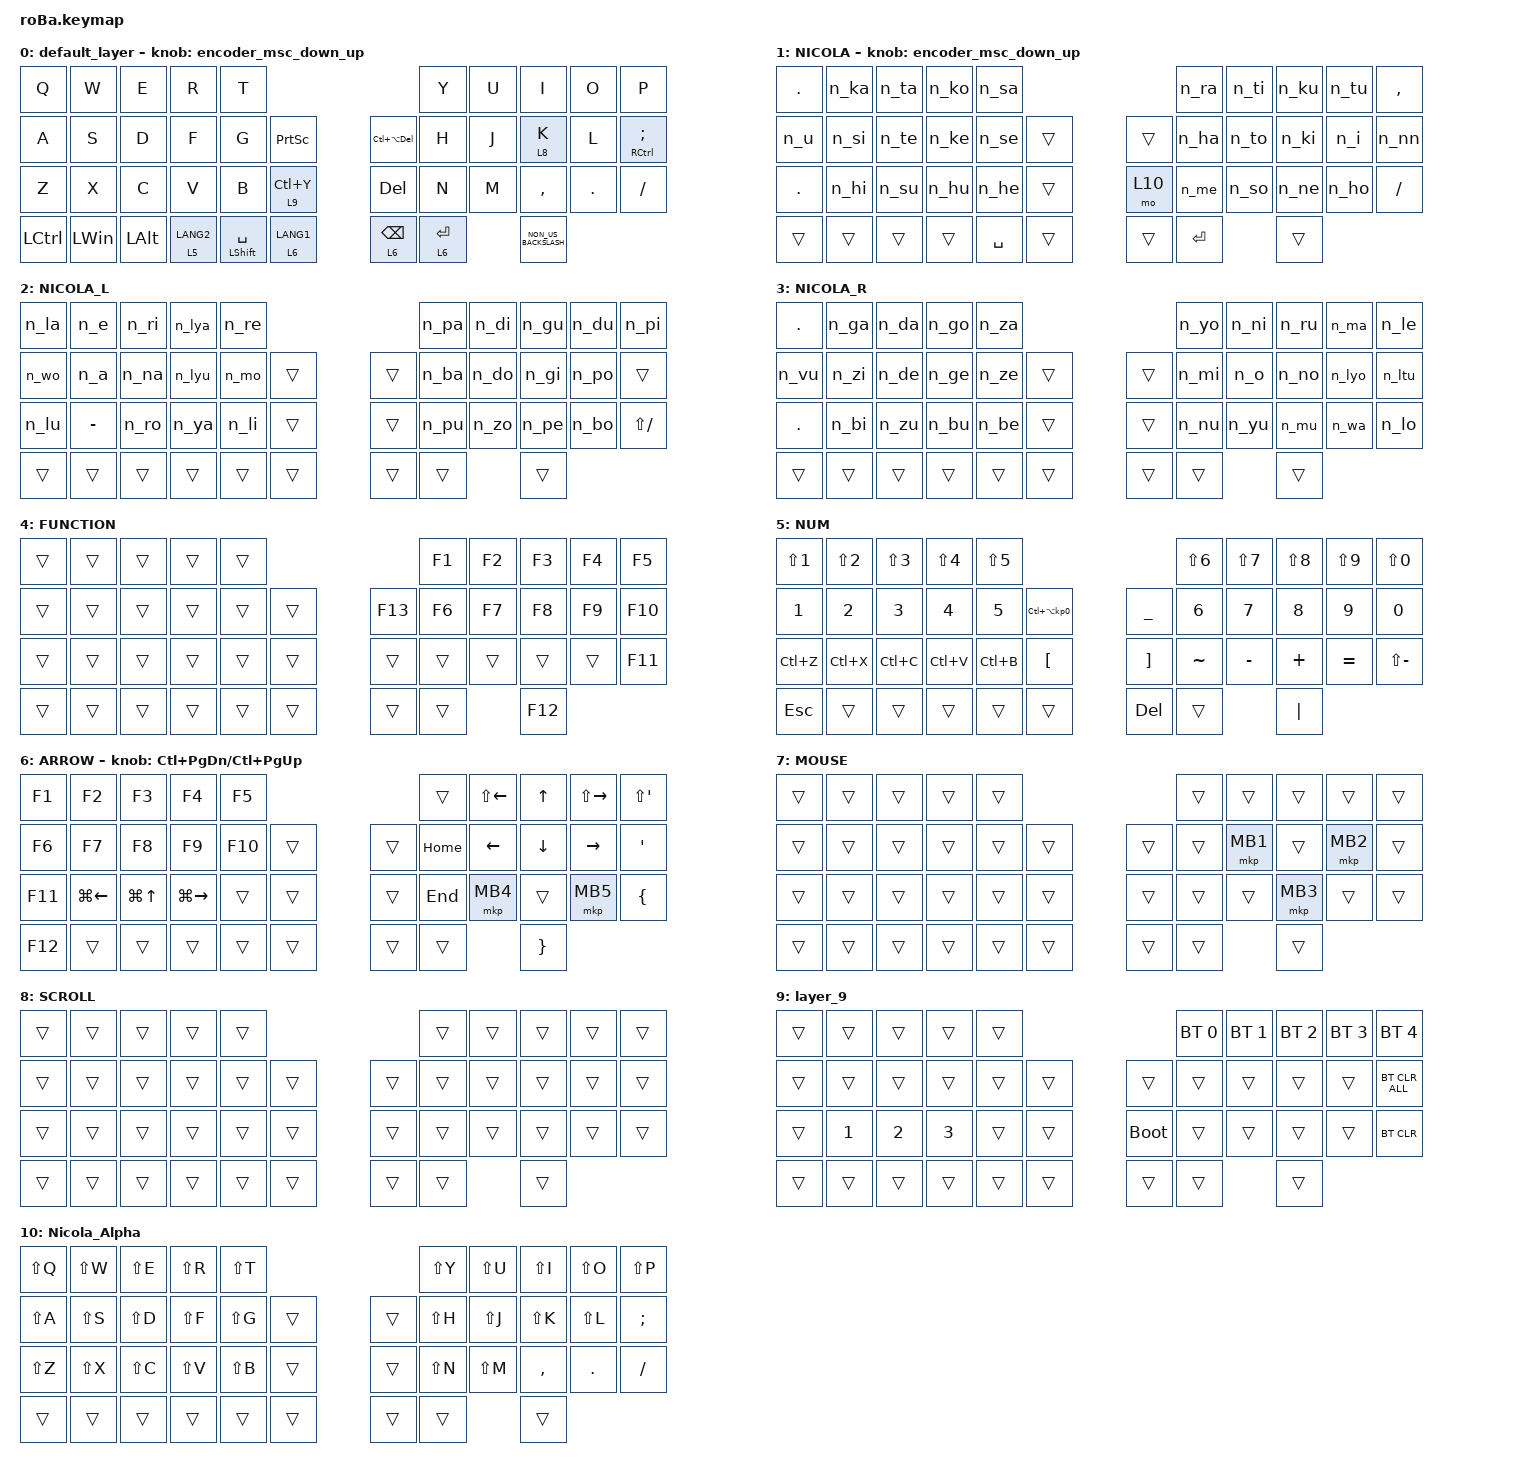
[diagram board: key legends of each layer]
#include <behaviors.dtsi>
#include <dt-bindings/zmk/bt.h>
#include <dt-bindings/zmk/keys.h>
#define ZMK_POINTING_DEFAULT_SCRL_VAL 80
#include <dt-bindings/zmk/pointing.h>


&mt {
    flavor = "balanced";
    quick-tap-ms = <190>;
};

&lt {
    flavor = "balanced";
    quick-tap-ms = <190>;
};

&trackball {
    automouse-layer = <7>;
    scroll-layers = <8>;

    // arrows {
    //     layers = <3>;
    //     bindings =
    //         <&kp RIGHT_ARROW>,
    //         <&kp LEFT_ARROW>,
    //         <&kp UP_ARROW>,
    //         <&kp DOWN_ARROW>;
    //     tick = <10>;
    //     wait-ms = <5>;
    //     tap-ms = <5>;
    // };
};


/ {
    behaviors {
        lt_to_layer_0: lt_to_layer_0 {
            compatible = "zmk,behavior-hold-tap";
            label = "LAYER_TAP_TO_0";
            bindings = <&mo>, <&to_layer_0>;

            #binding-cells = <2>;
            tapping-term-ms = <200>;
            quick-tap-ms = <180>;
        };

        encoder_msc_down_up: encoder_msc_down_up {
           compatible = "zmk,behavior-sensor-rotate";
           label = "ENCODER_MSC_DOWN_UP";
           #sensor-binding-cells = <0>;
           bindings = <&msc SCRL_DOWN>, <&msc SCRL_UP>;
           tap-ms = <20>;
       };

    };

    macros {
        #include "macro.dtsi"
        
        to_layer_0: to_layer_0 {
            compatible = "zmk,behavior-macro-one-param";
            #binding-cells = <1>;
            bindings = <&to 0 &macro_param_1to1 &kp MACRO_PLACEHOLDER>;
            label = "TO_LAYER_0";
        };

        brac1: brac1 {
            compatible = "zmk,behavior-macro";
            #binding-cells = <0>;
            bindings = <&kp LEFT_BRACKET &kp RIGHT_BRACKET &kp LEFT>;
            label = "BRAC1";
        };

        brac2: brac2 {
            compatible = "zmk,behavior-macro";
            #binding-cells = <0>;
            bindings = <&kp LEFT_BRACE &kp RIGHT_BRACE &kp LEFT>;
            label = "BRAC2";
        };

    };

    /*Key position map for combos
 0  1  2  3  4          5  6  7  8  9
10 11 12 13 14 15   16 17 18 19 20 21
22 23 24 25 26 27   28 29 30 31 32 33
34 35 36 37 38 39   40 41          42
*/
    combos {
        compatible = "zmk,combos";
        #include "combo_nicola.keymap"

        tab {
            bindings = <&kp TAB>;
            key-positions = <0 1>;
        };

        auto_caps {
            bindings = <&caps_word>;
            key-positions = <12 19>;
        };

        auto_brac1 {
            bindings = <&brac1>;
            key-positions = <11 20>;
        };
        
        auto_brac2 {
            bindings = <&brac2>;
            key-positions = <23 32>;
        };

        m_del {
            bindings = <&kp DEL>;
            key-positions = <8 9>;
        };

        combo_kana {
            timeout-ms = <50>;
            key-positions = <18 19>; 
            bindings = <&to_kana>;
        };

        combo_alpha {
            timeout-ms = <50>;
            key-positions = <12 13>; 
            bindings = <&to_alpha>;
        };

        combo_scroll {
            key-positions = <19 20>; 
            bindings = <&tog 8>;
        };


    };

    keymap {
        compatible = "zmk,keymap";

        default_layer {
            bindings = <
&kp Q             &kp W         &kp E         &kp R                        &kp T                                                              &kp Y        &kp U  &kp I      &kp O    &kp P
&kp A             &kp S         &kp D         &kp F                        &kp G                 &kp PSCRN                   &kp LC(LA(DEL))  &kp H        &kp J  &lt 8 K    &kp L    &mt RCTRL SEMICOLON
&kp Z             &kp X         &kp C         &kp V                        &kp B                 &lt 9 LC(Y)                 &kp DEL          &kp N        &kp M  &kp COMMA  &kp DOT  &kp SLASH
&kp LCTRL         &kp LEFT_WIN  &kp LEFT_ALT  &lt_to_layer_0 5 LANG2       &mt LEFT_SHIFT SPACE  &lt_to_layer_0 6 LANG1      &lt 6 BACKSPACE  &lt 6 ENTER       &kp NON_US_BACKSLASH
            >;

            sensor-bindings = <&encoder_msc_down_up>;
        };

        NICOLA {
            bindings = <
&kp DOT     &n_ka      &n_ta      &n_ko     &n_sa                                      &n_ra       &n_ti     &n_ku    &n_tu    &kp COMMA
&n_u        &n_si      &n_te      &n_ke     &n_se         &trans            &trans     &n_ha       &n_to     &n_ki    &n_i     &n_nn
&kp DOT     &n_hi      &n_su      &n_hu     &n_he         &trans            &mo 10     &n_me       &n_so     &n_ne    &n_ho    &kp SLASH
&trans      &trans     &trans     &trans    &kp SPACE     &trans            &trans     &kp ENTER                               &trans
            >;

            sensor-bindings = <&encoder_msc_down_up>;
        };

        NICOLA_L {
            bindings = <
&n_la      &n_e       &n_ri      &n_lya     &n_re                                   &n_pa       &n_di     &n_gu     &n_du     &n_pi
&n_wo      &n_a       &n_na      &n_lyu     &n_mo      &trans            &trans     &n_ba       &n_do     &n_gi     &n_po     &trans
&n_lu      &kp MINUS  &n_ro      &n_ya      &n_li      &trans            &trans     &n_pu       &n_zo     &n_pe     &n_bo     &kp LS(SLASH)
&trans     &trans     &trans     &trans     &trans     &trans            &trans     &trans                                    &trans
            >;
        };

        NICOLA_R {
            bindings = <
&kp DOT    &n_ga      &n_da      &n_go      &n_za                                   &n_yo       &n_ni     &n_ru     &n_ma     &n_le
&n_vu      &n_zi      &n_de      &n_ge      &n_ze      &trans            &trans     &n_mi       &n_o     &n_no     &n_lyo     &n_ltu
&kp DOT    &n_bi      &n_zu      &n_bu      &n_be      &trans            &trans     &n_nu       &n_yu     &n_mu     &n_wa     &n_lo
&trans     &trans     &trans     &trans     &trans     &trans            &trans     &trans                                    &trans
            >;
        };

        FUNCTION {
            bindings = <
&trans  &trans  &trans  &trans  &trans                       &kp F1  &kp F2  &kp F3  &kp F4  &kp F5
&trans  &trans  &trans  &trans  &trans  &trans      &kp F13  &kp F6  &kp F7  &kp F8  &kp F9  &kp F10
&trans  &trans  &trans  &trans  &trans  &trans      &trans   &trans  &trans  &trans  &trans  &kp F11
&trans  &trans  &trans  &trans  &trans  &trans      &trans   &trans                          &kp F12
            >;
        };

        NUM {
            bindings = <
&kp LS(NUMBER_1)  &kp LS(NUMBER_2)  &kp LS(NUMBER_3)  &kp LS(NUMBER_4)  &kp LS(N5)                                                  &kp LS(NUMBER_6)  &kp LS(N7)  &kp LS(N8)  &kp LS(N9)  &kp LS(N0)
&kp NUMBER_1      &kp NUMBER_2      &kp NUMBER_3      &kp NUMBER_4      &kp N5      &kp LC(LA(KP_NUMBER_0))      &kp UNDERSCORE     &kp NUMBER_6      &kp N7      &kp N8      &kp N9      &kp N0
&kp LC(Z)         &kp LC(X)         &kp LC(C)         &kp LC(V)         &kp LC(B)   &kp LEFT_BRACKET             &kp RIGHT_BRACKET  &kp TILDE         &kp MINUS   &kp PLUS    &kp EQUAL   &kp LS(MINUS)
&kp ESC           &trans            &trans            &trans            &trans      &trans                       &kp DEL            &trans                                                &kp PIPE
            >;
        };

        ARROW {
            bindings = <
&kp F1   &kp F2                  &kp F3            &kp F4           &kp F5                       &trans    &kp LS(LEFT)    &kp UP    &kp LS(RIGHT)     &kp LS(SQT)
&kp F6   &kp F7                  &kp F8            &kp F9           &kp F10  &trans      &trans  &kp HOME  &kp LEFT        &kp DOWN  &kp RIGHT         &kp SQT
&kp F11  &kp LG(LEFT_ARROW)  &kp LG(UP_ARROW)  &kp LG(RIGHT_ARROW)  &trans   &trans      &trans  &kp END   &mkp MB4        &trans    &mkp MB5          &kp LEFT_BRACE
&kp F12  &trans                  &trans            &trans           &trans   &trans      &trans  &trans                                                &kp RIGHT_BRACE
            >;

            sensor-bindings = <&inc_dec_kp LC(PAGE_DOWN) LC(PAGE_UP)>;
        };

        MOUSE {
            bindings = <
&trans  &trans  &trans  &trans  &trans                      &trans  &trans    &trans    &trans    &trans
&trans  &trans  &trans  &trans  &trans  &trans      &trans  &trans  &mkp MB1  &trans    &mkp MB2  &trans
&trans  &trans  &trans  &trans  &trans  &trans      &trans  &trans  &trans    &mkp MB3  &trans    &trans
&trans  &trans  &trans  &trans  &trans  &trans      &trans  &trans                                &trans
            >;
        };

        SCROLL {
            bindings = <
&trans  &trans  &trans  &trans  &trans                      &trans  &trans  &trans  &trans  &trans
&trans  &trans  &trans  &trans  &trans  &trans      &trans  &trans  &trans  &trans  &trans  &trans
&trans  &trans  &trans  &trans  &trans  &trans      &trans  &trans  &trans  &trans  &trans  &trans
&trans  &trans  &trans  &trans  &trans  &trans      &trans  &trans                          &trans
            >;
        };

        layer_9 {
            bindings = <
&trans  &trans        &trans        &trans        &trans                           &bt BT_SEL 0  &bt BT_SEL 1  &bt BT_SEL 2  &bt BT_SEL 3  &bt BT_SEL 4
&trans  &trans        &trans        &trans        &trans  &trans      &trans       &trans        &trans        &trans        &trans        &bt BT_CLR_ALL
&trans  &kp NUMBER_1  &kp NUMBER_2  &kp NUMBER_3  &trans  &trans      &bootloader  &trans        &trans        &trans        &trans        &bt BT_CLR
&trans  &trans        &trans        &trans        &trans  &trans      &trans       &trans                                                  &trans
            >;
        };

        Nicola_Alpha {
            bindings = <
&kp LS(Q)   &kp LS(W)   &kp LS(E)   &kp LS(R)  &kp LS(T)                       &kp LS(Y)        &kp LS(U)  &kp LS(I)      &kp LS(O)    &kp LS(P)
&kp LS(A)   &kp LS(S)   &kp LS(D)   &kp LS(F)   &kp LS(G)   &trans      &trans  &kp LS(H)        &kp LS(J)  &kp LS(K)      &kp LS(L)    &kp SEMICOLON
&kp LS(Z)   &kp LS(X)   &kp LS(C)   &kp LS(V)   &kp LS(B)   &trans      &trans  &kp LS(N)        &kp LS(M)  &kp COMMA  &kp DOT  &kp SLASH
&trans  &trans  &trans  &trans  &trans  &trans      &trans  &trans                                  &trans
            >;
        };

    };
};
